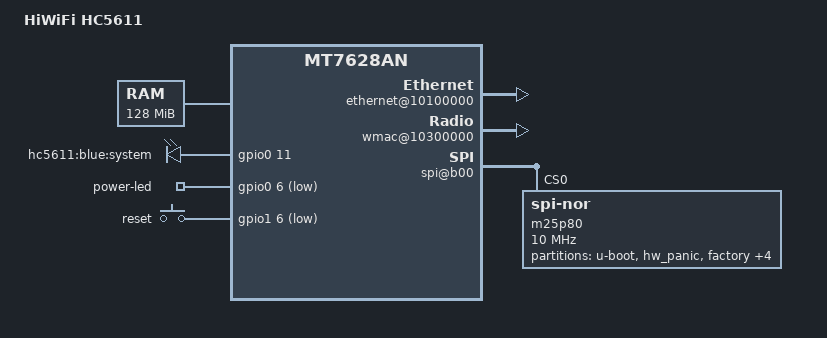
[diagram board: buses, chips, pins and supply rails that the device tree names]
/dts-v1/;

/include/ "mt7628an.dtsi"

/ {
	compatible = "hiwifi,HC5611", "mediatek,mt7628an-soc";
	model = "HiWiFi HC5611";

	chosen {
		bootargs = "console=ttyS0,115200";
	};

	memory@0 {
		device_type = "memory";
		reg = <0x0 0x8000000>;
	};

	gpio-leds {
		compatible = "gpio-leds";

		system {
			label = "hc5611:blue:system";
			gpios = <&gpio0 11 0>;
		};
	};
	
	gpio_export {
		compatible = "gpio-export";
		#size-cells = <0>;

		power-led {
			gpio-export,name = "power-led";
			gpio-export,output = <1>;
			gpios = <&gpio0 6 1>;
		};
	};

	pinctrl {
		state_default: pinctrl0 {
			gpio {
				ralink,group = "i2c", "refclk", "wled_an";
				ralink,function = "gpio";
			};
		};
	};

	gpio-keys-polled {
		compatible = "gpio-keys-polled";
		#address-cells = <1>;
		#size-cells = <0>;
		poll-interval = <20>;

		reset {
			label = "reset";
			gpios = <&gpio1 6 1>;
			linux,code = <0x198>;
		};
	};

	ethernet@10100000 {
		status = "okay";
		mtd-mac-address = <&factory 0x4>;
		mediatek,portmap = "wllll";
	};

	esw@10110000 {
		status = "okay";
		ralink,portmap = <0x2f>;
	};

	wmac@10300000 {
		status = "okay";
		ralink,mtd-eeprom = <&factory 0>;
	};

	palmbus@10000000 {
		spi@b00 {
			status = "okay";

			m25p80@0 {
				#address-cells = <1>;
				#size-cells = <1>;
				compatible = "jedec,spi-nor";
				reg = <0 0>;
				linux,modalias = "m25p80", "w25q128";
				spi-max-frequency = <10000000>;
				m25p,chunked-io = <32>;

				partition@0 {
					label = "u-boot";
					reg = <0x0 0x30000>;
					read-only;
				};

				partition@30000 {
					label = "hw_panic";
					reg = <0x30000 0x10000>;
					read-only;
				};

				factory: partition@40000 {
					label = "factory";
					reg = <0x40000 0x10000>;
					read-only;
				};

				partition@50000 {
					label = "firmware";
					reg = <0x50000 0xf70000>;
				};

				partition@fc0000 {
					label = "oem";
					reg = <0xfc0000 0x20000>;
					read-only;
				};

				bdinfo: partition@fe0000 {
					label = "bdinfo";
					reg = <0xfe0000 0x10000>;
					read-only;
				};

				partition@ff0000 {
					label = "backup";
					reg = <0xff0000 0x10000>;
					read-only;
				};
			};
		};
	};
};
